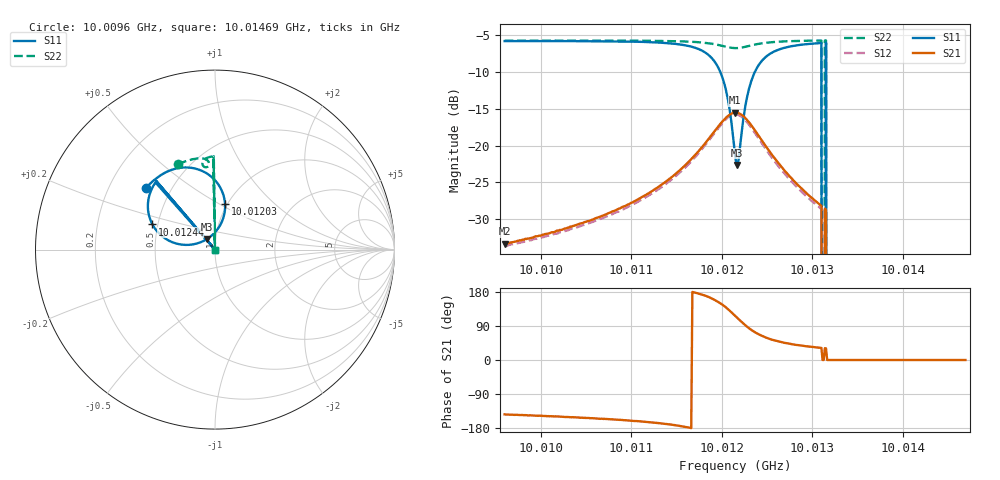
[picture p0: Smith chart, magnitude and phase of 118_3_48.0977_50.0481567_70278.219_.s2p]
#  HZ  S  RI  R  50.00
! Rohde & Schwarz Vector Network Analyzer
! Rohde-Schwarz,ZNB20-2Port,1311601062101988,3.16
! Created: UTC 12/23/2023, 3:46:29 AM
! freq[Hz]  re:S11  im:S11  re:S21  im:S21  re:S12  im:S12  re:S22  im:S22
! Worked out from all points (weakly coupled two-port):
!   401 points, 10.0096 GHz to 10.01469 GHz, reference 50 ohm
!   highest |S21| = -15.50 dB at 10.01215 GHz (marker M1); lowest = -33.3 dB at 10.0096 GHz (marker M2)
!   lowest |S11| = -22.6 dB at 10.01217 GHz (marker M3), VSWR 1.16, Z = 45.5 + j5.44 ohm
!   |S11| at or under -10 dB: 10.01198 GHz to 10.01236 GHz (379.6 kHz wide, 0.00379 % of centre); 10.0131 GHz to 10.01315 GHz (50.43 kHz wide, 0.000504 % of centre); 10.01315 GHz to end of sweep
!   |S22| runs from - to -5.7 dB; largest |S21 - S12| = 0.0084
!   S11 on the Smith chart (normalised r, x): 10.0096 GHz: 0.36, +0.33; 10.01203 GHz: 0.98, +0.53; 10.01244 GHz: 0.47, +0.15; 10.01469 GHz: 1.00, +0.00
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1.0009598e10  -0.3864 0.3408  -0.0173 -0.0128  -0.016 -0.0131  -0.2058 0.4753
1.0010451e10  -0.3311 0.3942  -0.0263 -0.0138  -0.0247 -0.0145  -0.1524 0.4959
1.0011305e10  -0.2287 0.4486  -0.0514 -0.0123  -0.0488 -0.0142  -0.0916 0.5085
1.0011815e10  -0.0523 0.4284  -0.1022 0.0181  -0.1 0.0127  -0.0452 0.4994
1.0011942e10  0.0231 0.3559  -0.1192 0.0538  -0.1186 0.0465  -0.0347 0.4865
1.0012031e10  0.0559 0.2536  -0.1191 0.0945  -0.1201 0.087  -0.0335 0.4727
1.0012082e10  0.0466 0.1774  -0.1066 0.1218  -0.1092 0.1143  -0.0374 0.465
1.0012146e10  -0.00921 0.0865  -0.0757 0.1498  -0.0797 0.1426  -0.0475 0.459
1.0012171e10  -0.0439 0.0594  -0.06 0.156  -0.064 0.1497  -0.0522 0.4587
1.0012299e10  -0.2381 0.0413  0.015 0.1441  0.00968 0.1393  -0.0688 0.4723
1.0012439e10  -0.3484 0.1402  0.0476 0.0985  0.0424 0.0959  -0.0662 0.4928
1.0012999e10  -0.3422 0.3578  0.0362 0.025  0.0332 0.0254  -0.0187 0.5184
1.0013076e10  -0.3343 0.3705  0.0338 0.0215  0.0312 0.0222  -0.0128 0.5195
1.0013101e10  -0.3317 0.3743  0.0331 0.0207  0.0305 0.0213  -0.0108 0.5197
1.0013114e10  0 0  0 0  0 0  0 0
1.0013127e10  0 0  0 0  0 0  0 0
1.0013139e10  0 0  0.032 0.0193  0.0295 0.02  -0.00791 0.5203
1.0013165e10  0 0  0 0  0 0  0 0
1.0013178e10  0 0  0 0  0 0  0 0
1.001319e10  0 0  0 0  0 0  0 0
1.0013853e10  0 0  0 0  0 0  0 0
1.0014694e10  0 0  0 0  0 0  0 0
